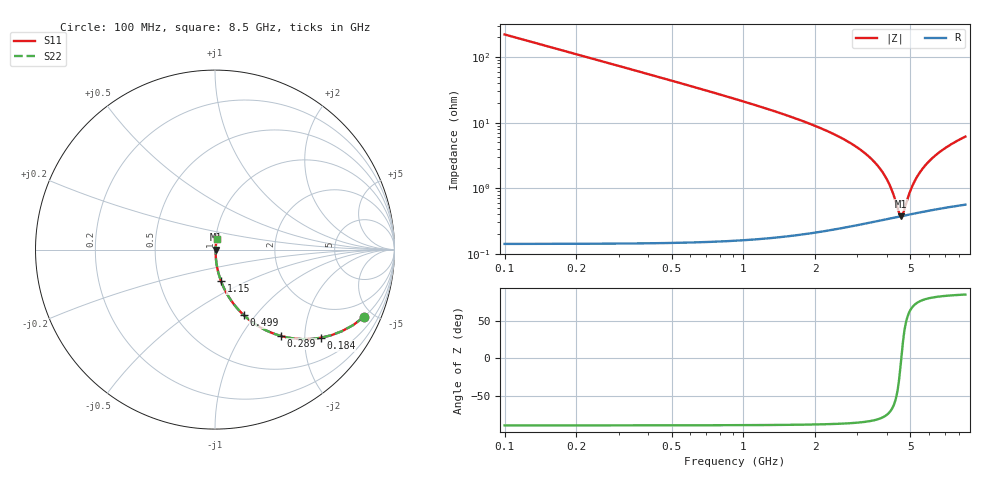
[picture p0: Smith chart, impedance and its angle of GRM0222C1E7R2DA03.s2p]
!Murata Part Number: GRM0222C1E7R2DA03
!These Parameters are Measured in Series Mode Connection
!Data Generated on Mar 30, 2021
!  o--ll--o
!Port1  Port2
!  o------o
!Operation Temp=25[degC], DC Bias Voltage=0[V]
!Freq. Start=100[MHz] Stop=9[GHz] 401[Steps]
# Hz S RI R 50
!Freq.(Hz) S11(Real) S11(Imag) S21(Real) S21(Imag) S12(Real) S12(Imag) S22(Real) S22(Imag)
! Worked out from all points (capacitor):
!   401 points, 100 MHz to 8.5 GHz, reference 50 ohm
!   read as one part in series: C = 7.2 pF near 142 MHz
!   lowest |Z| = 374 mohm at 4.573 GHz (marker M1)
!   series resonance near 4.583 GHz, so ESL is about 170 pH
!   S11 on the Smith chart (normalised r, x): 100 MHz: 1.00, -4.42; 184 MHz: 1.00, -2.40; 289 MHz: 1.00, -1.52; 499 MHz: 1.00, -0.88; 1.15 GHz: 1.00, -0.36; 8.5 GHz: 1.01, +0.12
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1e8  0.8298 -0.3755  0.1702 0.3755  0.1702 0.3755  0.8298 -0.3755
1.84e8  0.5898 -0.4913  0.4102 0.4913  0.4102 0.4913  0.5898 -0.4913
2.89e8  0.3674 -0.4812  0.6326 0.4812  0.6326 0.4812  0.3674 -0.4812
3.94e8  0.2372 -0.4241  0.7628 0.4241  0.7628 0.4241  0.2372 -0.4241
4.99e8  0.1615 -0.3663  0.8385 0.3663  0.8385 0.3663  0.1615 -0.3663
7.51e8  0.0769 -0.2637  0.9231 0.2637  0.9231 0.2637  0.0769 -0.2637
1.15e9  0.0328 -0.1735  0.9672 0.1735  0.9672 0.1735  0.0328 -0.1735
1.507e9  0.0184 -0.1277  0.9816 0.1277  0.9816 0.1277  0.0184 -0.1277
2.914e9  0.00464 -0.0443  0.9954 0.0443  0.9954 0.0443  0.00464 -0.0443
3.397e9  0.0038 -0.0287  0.9962 0.0287  0.9962 0.0287  0.0038 -0.0287
3.775e9  0.00356 -0.0184  0.9964 0.0184  0.9964 0.0184  0.00356 -0.0184
4.069e9  0.00353 -0.0112  0.9965 0.0112  0.9965 0.0112  0.00353 -0.0112
4.3e9  0.00359 -0.00598  0.9964 0.00598  0.9964 0.00598  0.00359 -0.00598
4.489e9  0.00367 -0.00193  0.9963 0.00193  0.9963 0.00193  0.00367 -0.00193
4.573e9  0.00372 -0.000198  0.9963 0.000198  0.9963 0.000198  0.00372 -0.000198
4.657e9  0.00377 0.00151  0.9962 -0.00151  0.9962 -0.00151  0.00377 0.00151
4.93e9  0.00398 0.00683  0.996 -0.00683  0.996 -0.00683  0.00398 0.00683
5.14e9  0.00417 0.0107  0.9958 -0.0107  0.9958 -0.0107  0.00417 0.0107
5.707e9  0.00479 0.0205  0.9952 -0.0205  0.9952 -0.0205  0.00479 0.0205
6.316e9  0.00559 0.0302  0.9944 -0.0302  0.9944 -0.0302  0.00559 0.0302
7.114e9  0.0068 0.0418  0.9932 -0.0418  0.9932 -0.0418  0.0068 0.0418
8.5e9  0.0092 0.06  0.9908 -0.06  0.9908 -0.06  0.0092 0.06
